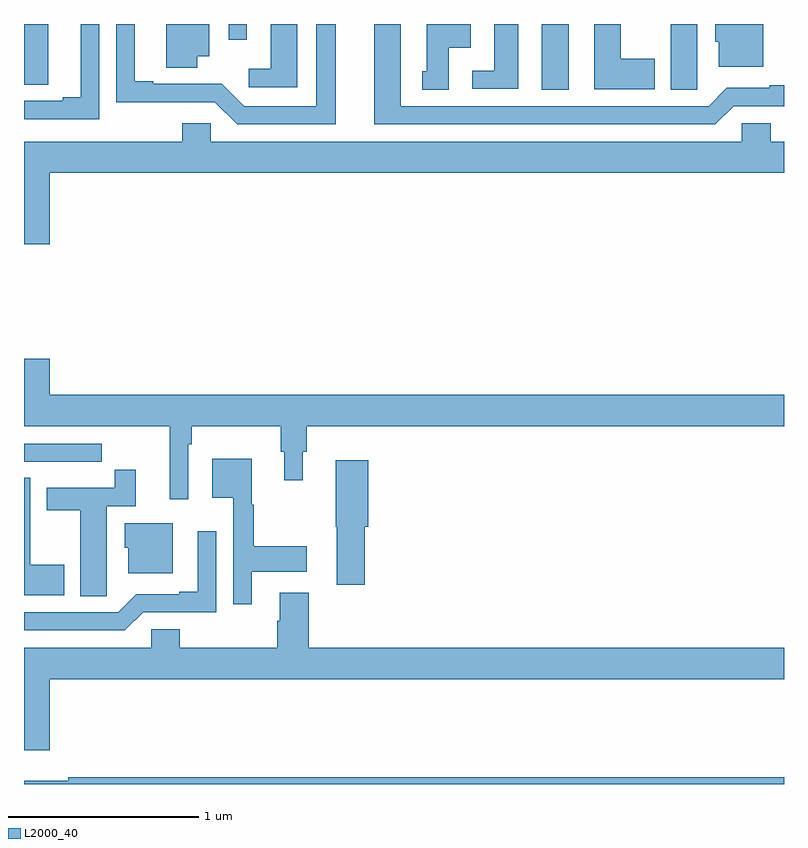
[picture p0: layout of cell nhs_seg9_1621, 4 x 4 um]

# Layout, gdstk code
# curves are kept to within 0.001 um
import gdstk
lib = gdstk.Library(unit=1e-6, precision=1e-09)
def R(c, l, rs):  # rectangles x0, y0, x1, y1
    for r in rs: c.add(gdstk.rectangle(r[:2], r[2:], *l))
def P(c, l, *ps):  # polygons
    for p in ps: c.add(gdstk.Polygon(p, *l))
L2000_40 = (2000, 40)

nhs_seg9_1621 = lib.new_cell('nhs_seg9_1621')
R(nhs_seg9_1621, L2000_40, [(203.726,1234.153,203.866,1234.5), (201,1234.18,201.127,1234.5), (202.077,1234.416,202.173,1234.5)])
P(nhs_seg9_1621, L2000_40, [(204.892,1234.5),(204.638,1234.5),(204.638,1234.407),(204.656,1234.407),(204.656,1234.274),(204.892,1234.274)],
  [(203.602,1234.5),(203.474,1234.5),(203.474,1234.254),(203.358,1234.254),(203.358,1234.158),(203.602,1234.158)],
  [(202.642,1234.5),(202.538,1234.5),(202.538,1234.068),(202.158,1234.068),(202.04,1234.186),(201.679,1234.185),(201.679,1234.198),(201.583,1234.198),(201.583,1234.5),(201.486,1234.5),(201.486,1234.088),(202.005,1234.089),(202.122,1233.972),(202.642,1233.972)],
  [(201.396,1234.5),(201.299,1234.5),(201.299,1234.115),(201.203,1234.115),(201.203,1234.095),(201,1234.095),(201,1233.999),(201.396,1233.999)],
  [(204.319,1234.317),(204.142,1234.317),(204.142,1234.5),(204.002,1234.5),(204.002,1234.157),(204.319,1234.157)],
  [(204.543,1234.264),(204.544,1234.264),(204.544,1234.5),(204.404,1234.5),(204.404,1234.153),(204.543,1234.153)],
  [(204.735,1234.068),(205,1234.068),(205,1234.177),(204.926,1234.177),(204.926,1234.164),(204.699,1234.164),(204.603,1234.068),(202.984,1234.068),(202.984,1234.5),(202.844,1234.5),(202.844,1233.972),(204.639,1233.972)],
  [(202.438,1234.5),(202.298,1234.5),(202.298,1234.264),(202.182,1234.264),(202.182,1234.167),(202.438,1234.167)],
  [(201.913,1234.331),(201.976,1234.331),(201.976,1234.5),(201.749,1234.5),(201.749,1234.27),(201.913,1234.27)],
  [(203.236,1234.376),(203.35,1234.376),(203.35,1234.5),(203.12,1234.5),(203.12,1234.251),(203.096,1234.251),(203.096,1234.153),(203.236,1234.153)],
  [(205,1233.88),(204.929,1233.88),(204.929,1233.978),(204.777,1233.978),(204.777,1233.88),(201.984,1233.88),(201.984,1233.978),(201.833,1233.978),(201.833,1233.88),(201,1233.88),(201,1233.342),(201.136,1233.342),(201.136,1233.716),(205,1233.716)],
  [(201.864,1232.288),(201.884,1232.288),(201.884,1232.384),(202.351,1232.384),(202.351,1232.25),(202.37,1232.25),(202.37,1232.1),(202.468,1232.1),(202.468,1232.25),(202.487,1232.25),(202.487,1232.384),(205,1232.384),(205,1232.548),(201.136,1232.548),(201.136,1232.737),(201,1232.737),(201,1232.384),(201.767,1232.384),(201.767,1231.998),(201.864,1231.998)],
  [(201.296,1232.196),(201.409,1232.196),(201.409,1232.292),(201,1232.292),(201,1232.196),(201.13,1232.196),(201.13,1232.195),(201.296,1232.195)],
  [(202.198,1231.616),(202.489,1231.616),(202.489,1231.751),(202.21,1231.751),(202.21,1231.971),(202.198,1231.971),(202.198,1232.212),(201.992,1232.212),(201.992,1232.006),(202.101,1232.006),(202.101,1231.446),(202.198,1231.446)],
  [(202.793,1231.854),(202.811,1231.854),(202.811,1232.203),(202.64,1232.203),(202.64,1231.854),(202.646,1231.854),(202.646,1231.548),(202.793,1231.548)],
  [(201.435,1231.6),(201.436,1231.6),(201.436,1231.962),(201.587,1231.962),(201.587,1232.155),(201.478,1232.155),(201.478,1232.058),(201.119,1232.058),(201.119,1231.942),(201.296,1231.942),(201.296,1231.489),(201.435,1231.489)],
  [(201.211,1231.653),(201.034,1231.653),(201.034,1232.111),(201,1232.111),(201,1231.493),(201.211,1231.493)],
  [(201.784,1231.873),(201.53,1231.873),(201.53,1231.743),(201.548,1231.743),(201.548,1231.61),(201.784,1231.61)],
  [(201.627,1231.404),(202.011,1231.404),(202.011,1231.831),(201.914,1231.831),(201.914,1231.513),(201.818,1231.513),(201.818,1231.5),(201.591,1231.5),(201.495,1231.404),(201,1231.404),(201,1231.308),(201.531,1231.308)],
  [(201.136,1231.052),(205,1231.052),(205,1231.216),(202.499,1231.216),(202.499,1231.507),(202.346,1231.507),(202.346,1231.358),(202.334,1231.358),(202.334,1231.216),(201.821,1231.216),(201.821,1231.314),(201.669,1231.314),(201.669,1231.216),(201,1231.216),(201,1230.678),(201.136,1230.678)],
  [(205,1230.536),(201.232,1230.536),(201.232,1230.517),(201,1230.517),(201,1230.5),(205,1230.5)])

lib.write_gds('nhs_seg9_1621.gds')
